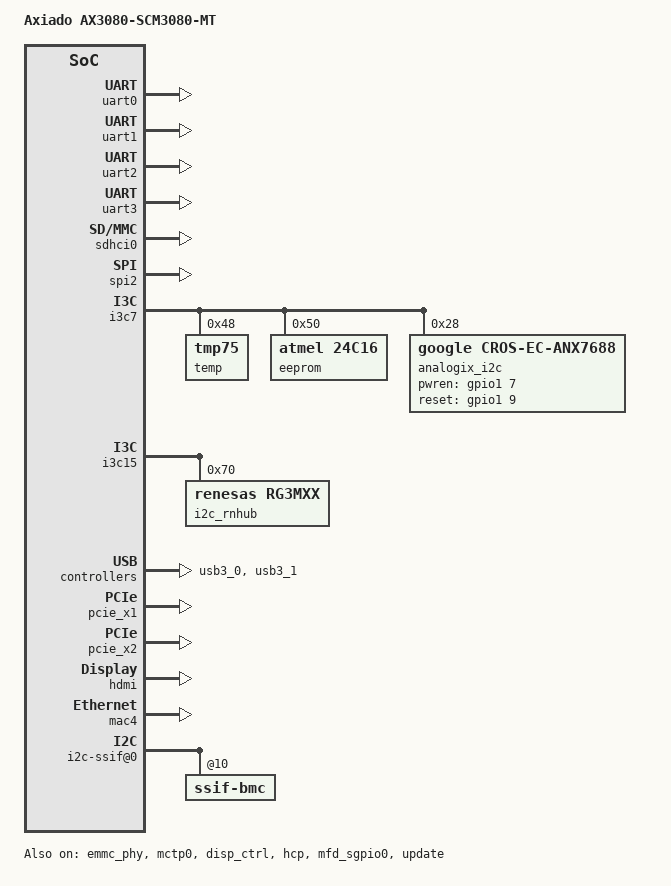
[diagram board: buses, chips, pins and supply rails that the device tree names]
// SPDX-License-Identifier: GPL-2.0+
/*
 * DTSI file for Axiado SCM3080
 * Copyright (c) 2026 Axiado Corporation.
 */

#include "ax3000-scm.dtsi"

/ {
	model = "Axiado AX3080-SCM3080-MT";

	update: fw-update@4A00000 {
		compatible = "axiado,ax-fwupgrade";
		/* Reserved memory space for the firmware upgrade */
		reg = <0x00000000 0x04A00000 0x00000000 0x8000000>;
		status = "okay";
	};
};

/* GPIO bank 0 - 7 */
&gpio0 {
	status = "okay";
};

&gpio1 {
	status = "okay";
};

&gpio2 {
	status = "okay";
};

&gpio3 {
	status = "okay";
};

&gpio4 {
	status = "okay";
};

&gpio5 {
	status = "okay";
};

&gpio6 {
	status = "okay";
};

&gpio7 {
	status = "okay";
};

&uart0 {
	status = "okay";
};

&uart1 {
	status = "okay";
};

&uart2 {
	status = "okay";
};

&uart3 {
	status = "okay";
};

&emmc_phy {
	status = "okay";
};

&sdhci0 {
	status = "okay";
};

&spi2 {
	status = "okay";
};

&i3c7 {
	status = "okay";

	temp@48 {
		compatible = "tmp75";
		reg = <0x48 0x0 0x50>;
	};

	eeprom@50 {
		compatible = "atmel,24c16";
		reg = <0x50 0x0 0x50>;
	};

	analogix_i2c@28{
		compatible ="google,cros-ec-anx7688";
		reg = <0x28 0x0 0x50>;
		pwren-gpios = <&gpio1 7 0x0>;
		reset-gpios = <&gpio1 9 0x0>;
		force-hpd = <1>;
	};

	analogix_i2c1@2c {
		compatible = "dummy";
		reg = <0x2c 0x0 0x50>;
	};

	analogix_i2c2@38 {
		compatible = "dummydev";
		reg = <0x38 0x0 0x50>;
	};

};

&i3c15 {
	status = "okay";

	initial-role = "primary";
	#address-cells = <3>;
	#size-cells = <0>;
	i2c-scl-hz = <100000>;
	i3c-scl-hz = <400000>;
	status = "okay";
	/delete-property/ disable-ibir;
	disable-ibir-error;
	disable-ctrl-halt;
	disable-mst-abort;
	skip-payload-inc;

	i2c_rnhub: hub@70,4cdaf6e7823  {
		compatible = "renesas,rg3mxx";
		dcr = /bits/ 8 <0xC2>;
		bcr = /bits/ 8 <0x16>;
		reg = <0x70 0x4cc 0x00>;
		status = "okay";
		#address-cells = <1>;
		#size-cells = <0>;

		i2c_rnhub_cp: control-port {
			port-name = "CP0";
			io-microvolt = <1800000>;
			vio-source = "external";
		};

		i2c_rnhub_tg0: target-group-0 {
			io-microvolt = <1800000>;
			io-internal-pullups-ohms = <2000>;
			vio-source = "internal";
		};

		i2c_rnhub_tg1: target-group-1 {
			io-microvolt = <1800000>;
			io-internal-pullups-ohms = <2000>;
			vio-source = "internal";
		};

		i2c_rnhub_p0: target-port@0 {
			compatible = "i3c-hub-smbus";
			reg = <0>;
		};

		i2c_rnhub_p1: target-port@1 {
			compatible = "i3c-hub-smbus";
			reg = <1>;
		};

		i2c_rnhub_p2: target-port@2 {
			compatible = "i3c-hub-smbus";
			reg = <2>;
		};

		i2c_rnhub_p3: target-port@3 {
			compatible = "i3c-hub-smbus";
			reg = <3>;
		};

		i2c_rnhub_p4: target-port@4 {
			compatible = "i3c-hub-smbus";
			reg = <4>;
		};

		i2c_rnhub_p5: target-port@5 {
			compatible = "i3c-hub-smbus";
			reg = <5>;
		};

		i2c_rnhub_p6: target-port@6 {
			compatible = "i3c-hub-smbus";
			reg = <6>;
		};

		i2c_rnhub_p7: target-port@7 {
			compatible = "i3c-hub-smbus";
			reg = <7>;
		};
	};
};

&usb3_0 {
	compatible = "axiado,ax3000-udc-gen3";
	status = "okay";
};

&usb3_1 {
	status = "okay";
};

&pcie_x1 {
	status = "okay";
};

&pcie_x2 {
	status = "okay";
};

&mctp0 {
	status = "okay";
};

&hdmi {
	status = "okay";
};

&disp_ctrl {
	status = "okay";
};

&hcp {
	status = "okay";
};

&mac4 {
	status = "okay";
};

&axiado_mfd {
	/delete-property/ interrupt-parent;
	/delete-property/ interrupts;

	status = "okay";
	i2c-ssif@0 {
		status = "okay";
		ssif-bmc@10 {
			status = "okay";
		};
	};
};

&mfd_sgpio0 {
	status = "okay";
	ngpios = <128>;
};

